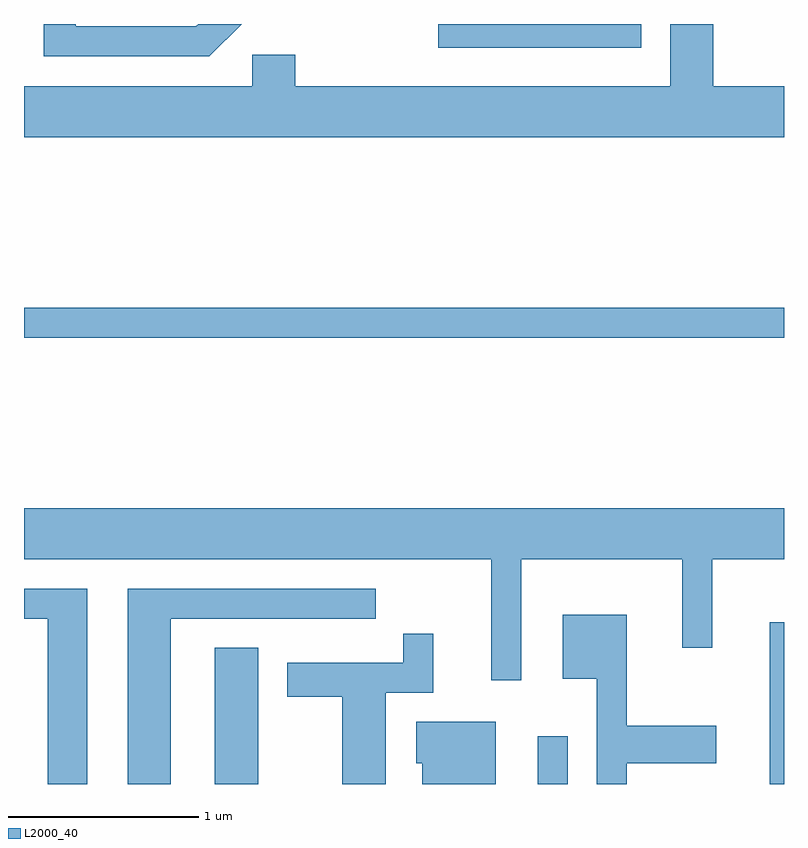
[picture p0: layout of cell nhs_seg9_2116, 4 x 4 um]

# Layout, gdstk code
import gdstk
lib = gdstk.Library(unit=1e-6, precision=1e-09)
def R(c, l, rs):  # rectangles x0, y0, x1, y1
    for r in rs: c.add(gdstk.rectangle(r[:2], r[2:], *l))
def P(c, l, *ps):  # polygons
    for p in ps: c.add(gdstk.Polygon(p, *l))
L2000_40 = (2000, 40)

nhs_seg9_2116 = lib.new_cell('nhs_seg9_2116')
R(nhs_seg9_2116, L2000_40, [(248.616,1968.432,248.844,1969.149), (250.316,1968.432,250.474,1968.683), (251.536,1968.432,251.611,1969.284), (247.611,1970.781,251.611,1970.939), (249.791,1972.306,250.859,1972.432)])
P(nhs_seg9_2116, L2000_40, [(251.611,1972.104),(251.239,1972.104),(251.239,1972.432),(251.011,1972.432),(251.011,1972.104),(249.039,1972.104),(249.039,1972.269),(248.811,1972.269),(248.811,1972.104),(247.611,1972.104),(247.611,1971.836),(251.611,1971.836)],
  [(248.758,1972.432),(248.527,1972.432),(248.514,1972.419),(247.884,1972.419),(247.884,1972.432),(247.716,1972.432),(247.716,1972.261),(248.587,1972.261)],
  [(250.229,1969.616),(251.076,1969.616),(251.076,1969.148),(251.234,1969.148),(251.234,1969.616),(251.611,1969.616),(251.611,1969.884),(247.611,1969.884),(247.611,1969.616),(250.071,1969.616),(250.071,1968.978),(250.229,1968.978)],
  [(247.944,1969.459),(247.611,1969.459),(247.611,1969.301),(247.736,1969.301),(247.736,1968.432),(247.944,1968.432)],
  [(248.384,1969.301),(249.463,1969.301),(249.463,1969.459),(248.156,1969.459),(248.156,1968.432),(248.384,1968.432)],
  [(250.784,1968.541),(251.254,1968.541),(251.254,1968.739),(250.784,1968.739),(250.784,1969.324),(250.446,1969.324),(250.446,1968.986),(250.626,1968.986),(250.626,1968.432),(250.784,1968.432)],
  [(249.514,1968.911),(249.764,1968.911),(249.764,1969.223),(249.606,1969.223),(249.606,1969.069),(248.996,1969.069),(248.996,1968.891),(249.286,1968.891),(249.286,1968.432),(249.514,1968.432)],
  [(250.094,1968.759),(249.676,1968.759),(249.676,1968.541),(249.706,1968.541),(249.706,1968.432),(250.094,1968.432)])

lib.write_gds('nhs_seg9_2116.gds')
